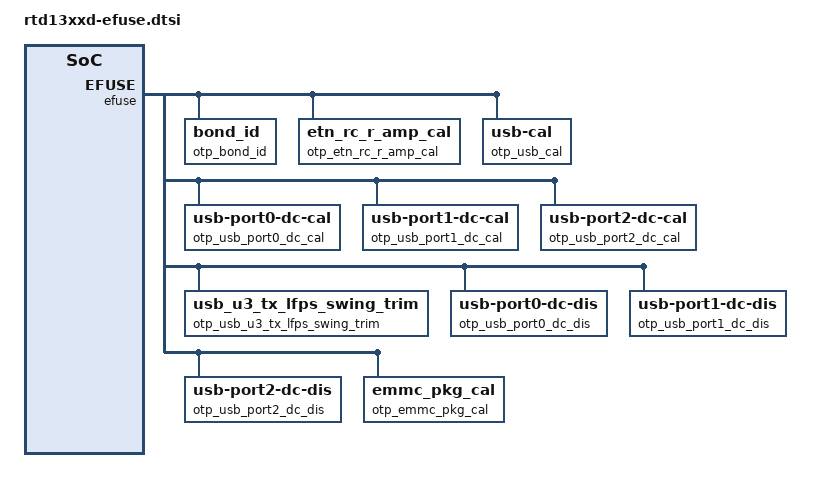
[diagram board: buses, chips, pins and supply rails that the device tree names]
// SPDX-License-Identifier: GPL-2.0
/* Copyright (C) 2020 Realtek Semiconductor Corporation
 */
&efuse {
	otp_bond_id: bond_id@3c8,0 {
		reg = <0x3c8 0x4>;
	};
	otp_etn_rc_r_amp_cal: etn_rc_r_amp_cal@504,0 {
		reg = <0x504 0x8>;
	};
	otp_usb_cal: usb-cal@528,0 {
		reg = <0x528 0xa>;
		bits = <0 77>;
	};
	otp_usb_port0_dc_cal: usb-port0-dc-cal@534,0 {
		reg = <0x534 0x1>;
		bits = <0 4>;
	};
	otp_usb_port1_dc_cal: usb-port1-dc-cal@534,4 {
		reg = <0x534 0x1>;
		bits = <4 4>;
	};
	otp_usb_port2_dc_cal: usb-port2-dc-cal@535,0 {
		reg = <0x535 0x1>;
		bits = <0 4>;
	};
	otp_usb_u3_tx_lfps_swing_trim: usb_u3_tx_lfps_swing_trim@a18,0 {
		reg = <0xa18 0x1>;
		bits = <0 4>;
	};
	otp_usb_port0_dc_dis: usb-port0-dc-dis@ae1,0 {
		reg = <0xae1 0x1>;
		bits = <0 4>;
	};
	otp_usb_port1_dc_dis: usb-port1-dc-dis@ae1,4 {
		reg = <0xae1 0x1>;
		bits = <4 4>;
	};
	otp_usb_port2_dc_dis: usb-port2-dc-dis@ae2,0 {
		reg = <0xae2 0x1>;
		bits = <0 4>;
	};
	otp_emmc_pkg_cal: emmc_pkg_cal@540,0 {
		reg = <0x540 0x4>;
	};
};
